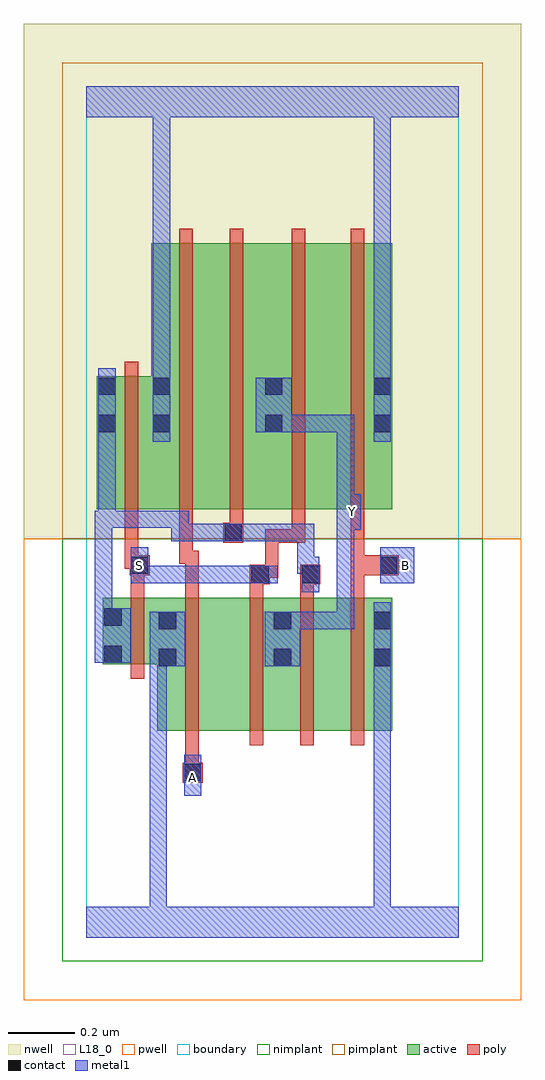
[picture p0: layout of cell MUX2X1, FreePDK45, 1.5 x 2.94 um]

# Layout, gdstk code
import gdstk
lib = gdstk.Library(unit=1e-6, precision=1e-09)
def R(c, l, rs):  # rectangles x0, y0, x1, y1
    for r in rs: c.add(gdstk.rectangle(r[:2], r[2:], *l))
def A(c, l, x, y, w, h, nx, ny, dx, dy):  # array of equal rectangles
    R(c, l, [(x+i*dx, y+j*dy, x+i*dx+w, y+j*dy+h) for i in range(nx) for j in range(ny)])
active = (1, 0)
pwell = (2, 0)
nwell = (3, 0)
nimplant = (4, 0)
pimplant = (5, 0)
poly = (9, 0)
contact = (10, 0)
metal1 = (11, 0)
L18_0 = (18, 0)
boundary = (235, 0)

mux2x1 = lib.new_cell('MUX2X1')
R(mux2x1, active, [(0.214,0.622,0.436,1.022), (0.214,0.622,0.274,1.022), (0.436,0.622,0.62,1.022), (0.56,0.622,0.74,1.022), (0.56,0.622,0.62,0.984), (0.74,0.622,0.92,1.022), (0.86,0.756,0.92,1.022), (0.05,0.822,0.274,1.022), (0.05,0.822,0.11,1.022), (0.032,1.288,0.092,1.688), (0.032,1.288,0.256,1.688), (0.196,1.288,0.376,2.088), (0.196,1.288,0.256,2.088), (0.376,1.288,0.594,2.088), (0.534,1.288,0.594,2.044), (0.534,1.288,0.714,2.088), (0.714,1.288,0.92,2.088), (0.86,1.288,0.92,2.044)])
R(mux2x1, pwell, [(-0.188,-0.188,1.308,1.2)])
R(mux2x1, nwell, [(-0.188,1.2,1.308,2.748)])
R(mux2x1, nimplant, [(-0.072,-0.072,1.192,1.2)])
R(mux2x1, pimplant, [(-0.072,1.2,1.192,2.632)])
A(mux2x1, poly, 0.492, 0.578, 0.04, 0.488, 3, 1, 0.152, 0)
R(mux2x1, poly, [(0.29,0.466,0.35,0.526), (0.298,0.486,0.338,0.618), (0.298,0.578,0.338,1.066), (0.134,0.778,0.174,1.066), (0.134,1.026,0.174,1.13), (0.298,1.026,0.338,1.164), (0.492,1.026,0.532,1.102), (0.644,1.026,0.684,1.102), (0.796,1.026,0.836,1.13), (0.492,1.062,0.552,1.122), (0.644,1.062,0.704,1.122), (0.512,1.082,0.578,1.122), (0.538,1.082,0.578,1.122), (0.538,1.082,0.578,1.228), (0.13,1.09,0.19,1.15), (0.796,1.09,0.836,1.13), (0.796,1.09,0.836,1.13), (0.796,1.09,0.94,1.15), (0.116,1.11,0.156,1.284), (0.116,1.11,0.17,1.15), (0.13,1.11,0.17,1.15), (0.796,1.11,0.836,1.284), (0.28,1.124,0.32,1.164), (0.28,1.124,0.32,1.164), (0.28,1.124,0.32,1.284), (0.28,1.124,0.338,1.164), (0.412,1.188,0.472,1.248), (0.538,1.188,0.578,1.228), (0.538,1.188,0.658,1.228), (0.618,1.188,0.658,1.228), (0.618,1.188,0.658,1.284), (0.432,1.208,0.472,1.284), (0.116,1.244,0.156,1.732), (0.28,1.244,0.32,2.132), (0.432,1.244,0.472,2.132), (0.618,1.244,0.658,2.132), (0.796,1.244,0.836,2.132)])
R(mux2x1, contact, [(0.294,0.47,0.346,0.522), (0.218,0.816,0.27,0.868), (0.564,0.816,0.616,0.868), (0.864,0.816,0.916,0.868), (0.054,0.826,0.106,0.878), (0.218,0.928,0.27,0.98), (0.564,0.928,0.616,0.98), (0.864,0.928,0.916,0.98), (0.054,0.938,0.106,0.99), (0.496,1.066,0.548,1.118), (0.648,1.066,0.7,1.118), (0.134,1.094,0.186,1.146), (0.884,1.094,0.936,1.146), (0.416,1.192,0.468,1.244), (0.036,1.52,0.088,1.572), (0.2,1.52,0.252,1.572), (0.538,1.52,0.59,1.572), (0.864,1.52,0.916,1.572), (0.036,1.632,0.088,1.684), (0.2,1.632,0.252,1.684), (0.538,1.632,0.59,1.684), (0.864,1.632,0.916,1.684)])
R(mux2x1, metal1, [(0,0,1.12,0.092), (0.19,0.04,0.242,0.092), (0.19,0.04,0.242,0.092), (0.19,0.04,0.242,0.092), (0.19,0.04,0.242,0.092), (0.19,0.04,0.242,0.092), (0.19,0.04,0.242,0.092), (0.19,0.04,0.242,0.092), (0.19,0.04,0.242,0.092), (0.19,0.04,0.242,0.092), (0.19,0.04,0.242,0.092), (0.19,0.04,0.242,0.868), (0.864,0.04,0.916,0.092), (0.864,0.04,0.916,0.092), (0.864,0.04,0.916,0.092), (0.864,0.04,0.916,0.092), (0.864,0.04,0.916,0.092), (0.864,0.04,0.916,0.092), (0.864,0.04,0.916,0.092), (0.864,0.04,0.916,0.092), (0.864,0.04,0.916,0.84), (0.294,0.426,0.346,0.55), (0.864,0.788,0.916,0.84), (0.864,0.788,0.916,0.84), (0.864,0.788,0.916,0.84), (0.864,0.788,0.916,0.84), (0.864,0.788,0.916,1.008), (0.19,0.816,0.242,0.868), (0.19,0.816,0.242,0.868), (0.19,0.816,0.298,0.98), (0.536,0.816,0.644,0.98), (0.026,0.826,0.134,0.99), (0.592,0.928,0.806,0.98), (0.754,0.928,0.806,0.98), (0.754,0.928,0.806,0.98), (0.754,0.928,0.806,0.98), (0.754,0.928,0.806,1.278), (0.026,0.938,0.078,0.99), (0.026,0.938,0.078,0.99), (0.026,0.938,0.078,1.284), (0.648,1.038,0.7,1.146), (0.134,1.066,0.186,1.174), (0.134,1.066,0.308,1.118), (0.256,1.066,0.308,1.118), (0.256,1.066,0.308,1.118), (0.256,1.066,0.308,1.118), (0.256,1.066,0.418,1.118), (0.366,1.066,0.418,1.118), (0.366,1.066,0.52,1.118), (0.468,1.066,0.576,1.118), (0.884,1.066,0.986,1.174), (0.634,1.094,0.686,1.146), (0.634,1.094,0.7,1.146), (0.634,1.094,0.686,1.244), (0.256,1.192,0.44,1.244), (0.256,1.192,0.308,1.284), (0.388,1.192,0.44,1.244), (0.388,1.192,0.44,1.244), (0.388,1.192,0.496,1.244), (0.444,1.192,0.686,1.244), (0.634,1.192,0.686,1.244), (0.754,1.226,0.826,1.334), (0.026,1.232,0.088,1.284), (0.036,1.232,0.088,1.284), (0.036,1.232,0.088,1.284), (0.036,1.232,0.308,1.284), (0.036,1.232,0.088,1.544), (0.256,1.232,0.308,1.284), (0.256,1.232,0.308,1.284), (0.754,1.282,0.806,1.572), (0.036,1.492,0.088,1.712), (0.2,1.492,0.252,1.712), (0.864,1.492,0.916,1.712), (0.51,1.52,0.618,1.684), (0.566,1.52,0.806,1.572), (0.754,1.52,0.806,1.572), (0.754,1.52,0.806,1.572), (0.754,1.52,0.806,1.572), (0.754,1.52,0.806,1.572), (0.754,1.52,0.806,1.572), (0.2,1.66,0.252,1.712), (0.2,1.66,0.252,1.712), (0.2,1.66,0.252,1.712), (0.2,1.66,0.252,1.712), (0.2,1.66,0.252,1.712), (0.2,1.66,0.252,1.712), (0.2,1.66,0.252,1.712), (0.2,1.66,0.252,1.712), (0.2,1.66,0.252,2.52), (0.864,1.66,0.916,1.712), (0.864,1.66,0.916,1.712), (0.864,1.66,0.916,1.712), (0.864,1.66,0.916,1.712), (0.864,1.66,0.916,1.712), (0.864,1.66,0.916,1.712), (0.864,1.66,0.916,1.712), (0.864,1.66,0.916,1.712), (0.864,1.66,0.916,2.52), (0,2.468,1.12,2.56)])
R(mux2x1, L18_0, [(0,0,1.12,0.092), (0.19,0.04,0.242,0.092), (0.19,0.04,0.242,0.092), (0.19,0.04,0.242,0.092), (0.19,0.04,0.242,0.092), (0.19,0.04,0.242,0.092), (0.19,0.04,0.242,0.092), (0.19,0.04,0.242,0.092), (0.19,0.04,0.242,0.092), (0.19,0.04,0.242,0.092), (0.19,0.04,0.242,0.092), (0.19,0.04,0.242,0.868), (0.864,0.04,0.916,0.092), (0.864,0.04,0.916,0.092), (0.864,0.04,0.916,0.092), (0.864,0.04,0.916,0.092), (0.864,0.04,0.916,0.092), (0.864,0.04,0.916,0.092), (0.864,0.04,0.916,0.092), (0.864,0.04,0.916,0.092), (0.864,0.04,0.916,0.84), (0.294,0.426,0.346,0.55), (0.294,0.454,0.346,0.506), (0.864,0.788,0.916,0.84), (0.864,0.788,0.916,0.84), (0.864,0.788,0.916,0.84), (0.864,0.788,0.916,0.84), (0.864,0.788,0.916,1.008), (0.19,0.816,0.242,0.868), (0.19,0.816,0.242,0.868), (0.19,0.816,0.298,0.98), (0.536,0.816,0.644,0.98), (0.592,0.928,0.806,0.98), (0.754,0.928,0.806,0.98), (0.754,0.928,0.806,0.98), (0.754,0.928,0.806,0.98), (0.754,0.928,0.806,1.278), (0.134,1.066,0.186,1.174), (0.134,1.066,0.308,1.118), (0.256,1.066,0.308,1.118), (0.256,1.066,0.308,1.118), (0.256,1.066,0.308,1.118), (0.256,1.066,0.418,1.118), (0.366,1.066,0.418,1.118), (0.366,1.066,0.52,1.118), (0.468,1.066,0.576,1.118), (0.884,1.066,0.986,1.174), (0.134,1.094,0.186,1.146), (0.934,1.094,0.986,1.146), (0.754,1.226,0.826,1.334), (0.774,1.254,0.826,1.306), (0.754,1.282,0.806,1.572), (0.2,1.492,0.252,1.712), (0.864,1.492,0.916,1.712), (0.51,1.52,0.618,1.684), (0.566,1.52,0.806,1.572), (0.754,1.52,0.806,1.572), (0.754,1.52,0.806,1.572), (0.754,1.52,0.806,1.572), (0.754,1.52,0.806,1.572), (0.754,1.52,0.806,1.572), (0.2,1.66,0.252,1.712), (0.2,1.66,0.252,1.712), (0.2,1.66,0.252,1.712), (0.2,1.66,0.252,1.712), (0.2,1.66,0.252,1.712), (0.2,1.66,0.252,1.712), (0.2,1.66,0.252,1.712), (0.2,1.66,0.252,1.712), (0.2,1.66,0.252,2.52), (0.864,1.66,0.916,1.712), (0.864,1.66,0.916,1.712), (0.864,1.66,0.916,1.712), (0.864,1.66,0.916,1.712), (0.864,1.66,0.916,1.712), (0.864,1.66,0.916,1.712), (0.864,1.66,0.916,1.712), (0.864,1.66,0.916,1.712), (0.864,1.66,0.916,2.52), (0,2.468,1.12,2.56)])
R(mux2x1, boundary, [(0,0,1.12,2.56)])
mux2x1.add(gdstk.Label('A', (0.32,0.48), layer=11, texttype=0))
mux2x1.add(gdstk.Label('B', (0.96,1.12), layer=11, texttype=0))
mux2x1.add(gdstk.Label('S', (0.16,1.12), layer=11, texttype=0))
mux2x1.add(gdstk.Label('Y', (0.8,1.28), layer=11, texttype=0))

lib.write_gds('MUX2X1.gds')
